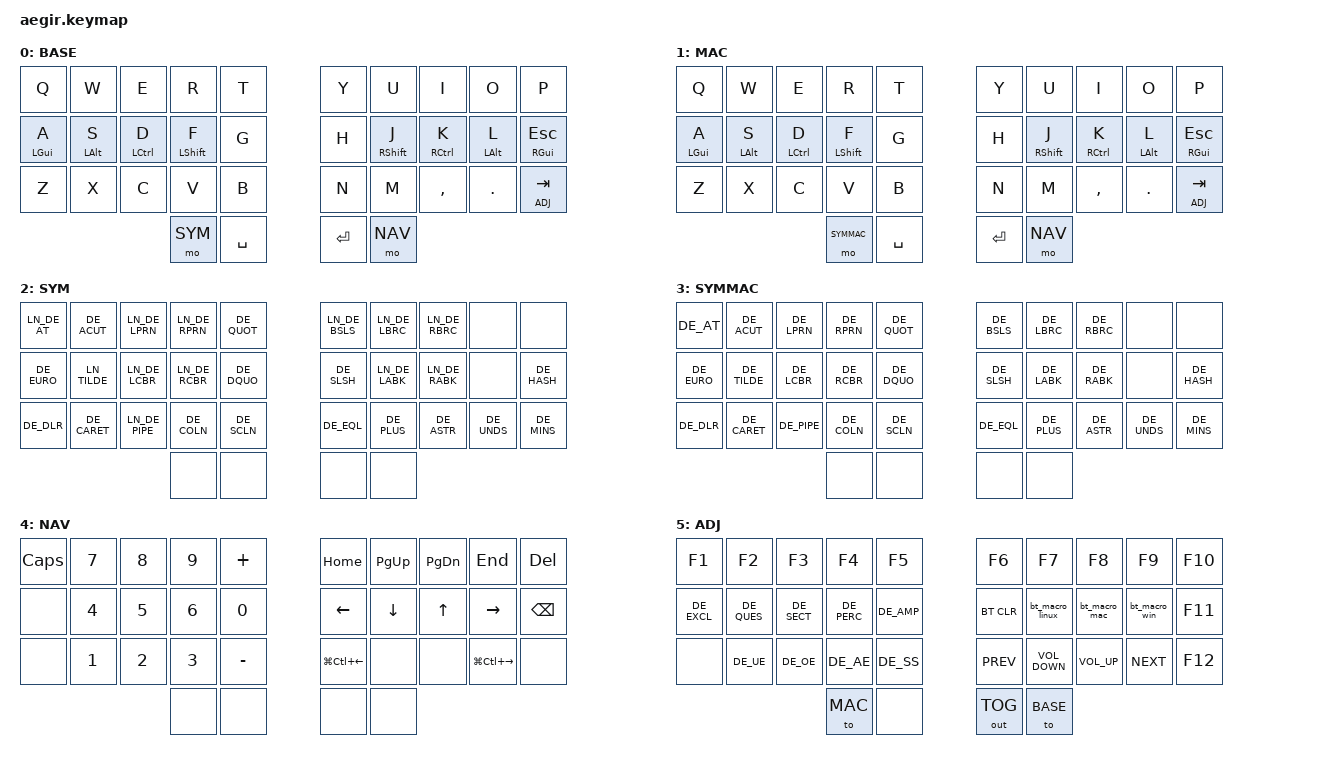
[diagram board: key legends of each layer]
#include <behaviors.dtsi>
#include <dt-bindings/zmk/keys.h>
#include <dt-bindings/zmk/bt.h>
#include <dt-bindings/zmk/outputs.h>
#include "keycodes_de.h"

#define BASE 0
#define MAC 1
#define SYM 2
#define SYMMAC 3
#define NAV 4
#define ADJ 5

&mt {
tapping-term-ms = <200>;
quick-tap-ms = <175>;
global-quick-tap;
flavor = "tap-preferred";
};

&lt {
tapping-term-ms = <200>;
quick-tap-ms = <175>;
global-quick-tap;
flavor = "hold-preferred";
};

/ {
    behaviors {
        hm: homerow_mods {
            compatible = "zmk,behavior-hold-tap";
            label = "HOMEROW_MODS";
            #binding-cells = <2>;
            flavor = "tap-preferred";
            tapping-term-ms = <200>;
            quick-tap-ms = <125>;
            global-quick-tap;
            bindings =
                <&kp>,
                <&kp>;
        };
    };

    macros {
        bt_macro_linux: bt_macro_linux {
            compatible = "zmk,behavior-macro";
            label = "bt_macro_linux";
            compatible = "zmk,behavior-macro";
            #binding-cells = <0>;
            wait-ms = <0>;
            tap-ms = <0>;
            bindings = <&bt BT_SEL 0>, <&to BASE>;
        };
        bt_macro_mac: bt_macro_mac {
            label = "bt_macro_mac";
            compatible = "zmk,behavior-macro";
            #binding-cells = <0>;
            wait-ms = <0>;
            tap-ms = <0>;
            bindings =  <&bt BT_SEL 1>, <&to MAC>;
        };
        bt_macro_win: bt_macro_win {
            label = "bt_macro_win";
            compatible = "zmk,behavior-macro";
            #binding-cells = <0>;
            wait-ms = <0>;
            tap-ms = <0>;
            bindings = <&bt BT_SEL 2>, <&to BASE>;
        };
    };

    keymap {
            compatible = "zmk,keymap";
// ▄▄▄▄▄▄▄▄▄▄▄▄▄▄▄▄▄▄▄▄▄▄▄▄▄▄▄▄▄▄▄▄▄▄▄▄▄▄▄▄▄▄▄▄▄▄▄▄▄▄▄▄▄▄▄▄▄▄▄▄▄▄▄▄▄▄▄▄▄▄▄▄▄▄▄▄▄▄▄▄▄▄▄▄▄▄▄▄▄▄▄▄▄▄▄▄▄▄▄▄▄▄▄▄▄▄▄▄▄▄▄▄▄▄▄▄▄▄▄▄▄▄▄▄▄▄▄▄▄▄▄▄▄▄▄▄▄▄▄▄▄▄▄▄▄▄▄▄▄
            base_layer {
label= "BASE";
// ┏━━━━━━━━━━━┳━━━━━━━━━━━┳━━━━━━━━━━━┳━━━━━━━━━━━┳━━━━━━━━━━━┓   ┏━━━━━━━━━━━┳━━━━━━━━━━━┳━━━━━━━━━━━┳━━━━━━━━━━━┳━━━━━━━━━━━┓
// ┃     Q     ┃     W     ┃     E     ┃     R     ┃     T     ┃   ┃     Y     ┃     U     ┃     I     ┃     O     ┃     P     ┃
// ┣━━━━━━━━━━━╋━━━━━━━━━━━╋━━━━━━━━━━━╋━━━━━━━━━━━╋━━━━━━━━━━━┫   ┣━━━━━━━━━━━╋━━━━━━━━━━━╋━━━━━━━━━━━╋━━━━━━━━━━━╋━━━━━━━━━━━┫
// ┃     A     ┃     S     ┃     D     ┃     F     ┃     G     ┃   ┃     H     ┃     J     ┃     K     ┃     L     ┃    ESC    ┃
// ┣━━━━━━━━━━━╋━━━━━━━━━━━╋━━━━━━━━━━━╋━━━━━━━━━━━╋━━━━━━━━━━━┫   ┣━━━━━━━━━━━╋━━━━━━━━━━━╋━━━━━━━━━━━╋━━━━━━━━━━━╋━━━━━━━━━━━┫
// ┃     Z     ┃     X     ┃     C     ┃     V     ┃     B     ┃   ┃     N     ┃     M     ┃     ,     ┃     .     ┃ LT 3 TAB  ┃
// ┗━━━━━━━━━━━┻━━━━━━━━━━━┻━━━━━━━━━━━╋━━━━━━━━━━━╋━━━━━━━━━━━┫   ┣━━━━━━━━━━━╋━━━━━━━━━━━╋━━━━━━━━━━━┻━━━━━━━━━━━┻━━━━━━━━━━━┛
//                                     ┃    MO(1)  ┃    SPC    ┃   ┃    ENT    ┃    MO(2)  ┃           
//                                     ┗━━━━━━━━━━━┻━━━━━━━━━━━┛   ┗━━━━━━━━━━━┻━━━━━━━━━━━┛
bindings = <
    &kp Q       &kp W       &kp E        &kp R        &kp T           &kp Y       &kp U        &kp I        &kp O       &kp P
    &mt LGUI A  &mt LALT S  &mt LCTRL D  &mt LSHFT F  &kp G           &kp H       &mt RSHFT J  &mt RCTRL K  &mt LALT L &mt RGUI ESC
    &kp Z       &kp X       &kp C        &kp V        &kp B           &kp N       &kp M        &kp COMMA    &kp DOT     &lt ADJ TAB
                                         &mo SYM      &kp SPACE       &kp RET     &mo NAV 
                    >;
            };

// ▄▄▄▄▄▄▄▄▄▄▄▄▄▄▄▄▄▄▄▄▄▄▄▄▄▄▄▄▄▄▄▄▄▄▄▄▄▄▄▄▄▄▄▄▄▄▄▄▄▄▄▄▄▄▄▄▄▄▄▄▄▄▄▄▄▄▄▄▄▄▄▄▄▄▄▄▄▄▄▄▄▄▄▄▄▄▄▄▄▄▄▄▄▄▄▄▄▄▄▄▄▄▄▄▄▄▄▄▄▄▄▄▄▄▄▄▄▄▄▄▄▄▄▄▄▄▄▄▄▄▄▄▄▄▄▄▄▄▄▄▄▄▄▄▄▄▄▄▄
                mac {
label= "MAC";
// ┏━━━━━━━━━━━┳━━━━━━━━━━━┳━━━━━━━━━━━┳━━━━━━━━━━━┳━━━━━━━━━━━┓   ┏━━━━━━━━━━━┳━━━━━━━━━━━┳━━━━━━━━━━━┳━━━━━━━━━━━┳━━━━━━━━━━━┓
// ┃     Q     ┃     W     ┃     E     ┃     R     ┃     T     ┃   ┃     Y     ┃     U     ┃     I     ┃     O     ┃     P     ┃
// ┣━━━━━━━━━━━╋━━━━━━━━━━━╋━━━━━━━━━━━╋━━━━━━━━━━━╋━━━━━━━━━━━┫   ┣━━━━━━━━━━━╋━━━━━━━━━━━╋━━━━━━━━━━━╋━━━━━━━━━━━╋━━━━━━━━━━━┫
// ┃     A     ┃     S     ┃     D     ┃     F     ┃     G     ┃   ┃     H     ┃     J     ┃     K     ┃     L     ┃    ESC    ┃
// ┣━━━━━━━━━━━╋━━━━━━━━━━━╋━━━━━━━━━━━╋━━━━━━━━━━━╋━━━━━━━━━━━┫   ┣━━━━━━━━━━━╋━━━━━━━━━━━╋━━━━━━━━━━━╋━━━━━━━━━━━╋━━━━━━━━━━━┫
// ┃     Z     ┃     X     ┃     C     ┃     V     ┃     B     ┃   ┃     N     ┃     M     ┃     ,     ┃     .     ┃ LT 3 TAB  ┃
// ┗━━━━━━━━━━━┻━━━━━━━━━━━┻━━━━━━━━━━━╋━━━━━━━━━━━╋━━━━━━━━━━━┫   ┣━━━━━━━━━━━╋━━━━━━━━━━━╋━━━━━━━━━━━┻━━━━━━━━━━━┻━━━━━━━━━━━┛
//                                     ┃    MO(5)  ┃    SPC    ┃   ┃    ENT    ┃    MO(2)  ┃           
//                                     ┗━━━━━━━━━━━┻━━━━━━━━━━━┛   ┗━━━━━━━━━━━┻━━━━━━━━━━━┛
bindings = <
    &kp Q       &kp W       &kp E        &kp R        &kp T           &kp Y       &kp U        &kp I        &kp O       &kp P
    &mt LGUI A  &mt LALT S  &mt LCTRL D  &mt LSHFT F  &kp G           &kp H       &mt RSHFT J  &mt RCTRL K  &mt LALT L &mt RGUI ESC
    &kp Z       &kp X       &kp C        &kp V        &kp B           &kp N       &kp M        &kp COMMA    &kp DOT     &lt ADJ TAB
                                         &mo SYMMAC   &kp SPACE       &kp RET     &mo NAV 
                    >;
            };

// ▄▄▄▄▄▄▄▄▄▄▄▄▄▄▄▄▄▄▄▄▄▄▄▄▄▄▄▄▄▄▄▄▄▄▄▄▄▄▄▄▄▄▄▄▄▄▄▄▄▄▄▄▄▄▄▄▄▄▄▄▄▄▄▄▄▄▄▄▄▄▄▄▄▄▄▄▄▄▄▄▄▄▄▄▄▄▄▄▄▄▄▄▄▄▄▄▄▄▄▄▄▄▄▄▄▄▄▄▄▄▄▄▄▄▄▄▄▄▄▄▄▄▄▄▄▄▄▄▄▄▄▄▄▄▄▄▄▄▄▄▄▄▄▄▄▄▄▄▄
            sim_layer {
label= "SYM";
// ┏━━━━━━━━━━━┳━━━━━━━━━━━┳━━━━━━━━━━━┳━━━━━━━━━━━┳━━━━━━━━━━━┓   ┏━━━━━━━━━━━┳━━━━━━━━━━━┳━━━━━━━━━━━┳━━━━━━━━━━━┳━━━━━━━━━━━┓
// ┃     @     ┃     ´     ┃     (     ┃     )     ┃     '     ┃   ┃     \     ┃     [     ┃     ]     ┃           ┃           ┃
// ┣━━━━━━━━━━━╋━━━━━━━━━━━╋━━━━━━━━━━━╋━━━━━━━━━━━╋━━━━━━━━━━━┫   ┣━━━━━━━━━━━╋━━━━━━━━━━━╋━━━━━━━━━━━╋━━━━━━━━━━━╋━━━━━━━━━━━┫
// ┃     €     ┃     ~     ┃     {     ┃     }     ┃     "     ┃   ┃     /     ┃     <     ┃     >     ┃           ┃     #     ┃
// ┣━━━━━━━━━━━╋━━━━━━━━━━━╋━━━━━━━━━━━╋━━━━━━━━━━━╋━━━━━━━━━━━┫   ┣━━━━━━━━━━━╋━━━━━━━━━━━╋━━━━━━━━━━━╋━━━━━━━━━━━╋━━━━━━━━━━━┫
// ┃     $     ┃     ^     ┃     |     ┃     :     ┃     ;     ┃   ┃     =     ┃     +     ┃     *     ┃     _     ┃     -     ┃
// ┗━━━━━━━━━━━┻━━━━━━━━━━━┻━━━━━━━━━━━╋━━━━━━━━━━━╋━━━━━━━━━━━┫   ┣━━━━━━━━━━━╋━━━━━━━━━━━╋━━━━━━━━━━━┻━━━━━━━━━━━┻━━━━━━━━━━━┛
//                                     ┃           ┃           ┃   ┃           ┃           ┃           
//                                     ┗━━━━━━━━━━━┻━━━━━━━━━━━┛   ┗━━━━━━━━━━━┻━━━━━━━━━━━┛
bindings = <
    &kp LN_DE_AT  &kp DE_ACUT    &kp LN_DE_LPRN   &kp LN_DE_RPRN   &kp DE_QUOT            &kp LN_DE_BSLS &kp LN_DE_LBRC &kp LN_DE_RBRC &none       &none
    &kp DE_EURO   &kp LN_TILDE   &kp LN_DE_LCBR   &kp LN_DE_RCBR   &kp DE_DQUO            &kp DE_SLSH    &kp LN_DE_LABK &kp LN_DE_RABK &none       &kp DE_HASH 
    &kp DE_DLR    &kp DE_CARET   &kp LN_DE_PIPE   &kp DE_COLN      &kp DE_SCLN            &kp DE_EQL     &kp DE_PLUS    &kp DE_ASTR    &kp DE_UNDS &kp DE_MINS
                                                  &none            &none                  &none          &none
                        >;
                };

// ▄▄▄▄▄▄▄▄▄▄▄▄▄▄▄▄▄▄▄▄▄▄▄▄▄▄▄▄▄▄▄▄▄▄▄▄▄▄▄▄▄▄▄▄▄▄▄▄▄▄▄▄▄▄▄▄▄▄▄▄▄▄▄▄▄▄▄▄▄▄▄▄▄▄▄▄▄▄▄▄▄▄▄▄▄▄▄▄▄▄▄▄▄▄▄▄▄▄▄▄▄▄▄▄▄▄▄▄▄▄▄▄▄▄▄▄▄▄▄▄▄▄▄▄▄▄▄▄▄▄▄▄▄▄▄▄▄▄▄▄▄▄▄▄▄▄▄▄▄
            simmac_layer {
label= "SYMMAC";
// ┏━━━━━━━━━━━┳━━━━━━━━━━━┳━━━━━━━━━━━┳━━━━━━━━━━━┳━━━━━━━━━━━┓   ┏━━━━━━━━━━━┳━━━━━━━━━━━┳━━━━━━━━━━━┳━━━━━━━━━━━┳━━━━━━━━━━━┓
// ┃     @     ┃     ´     ┃     (     ┃     )     ┃     '     ┃   ┃     \     ┃     [     ┃     ]     ┃           ┃           ┃
// ┣━━━━━━━━━━━╋━━━━━━━━━━━╋━━━━━━━━━━━╋━━━━━━━━━━━╋━━━━━━━━━━━┫   ┣━━━━━━━━━━━╋━━━━━━━━━━━╋━━━━━━━━━━━╋━━━━━━━━━━━╋━━━━━━━━━━━┫
// ┃     €     ┃     ~     ┃     {     ┃     }     ┃     "     ┃   ┃     /     ┃     <     ┃     >     ┃           ┃     #     ┃
// ┣━━━━━━━━━━━╋━━━━━━━━━━━╋━━━━━━━━━━━╋━━━━━━━━━━━╋━━━━━━━━━━━┫   ┣━━━━━━━━━━━╋━━━━━━━━━━━╋━━━━━━━━━━━╋━━━━━━━━━━━╋━━━━━━━━━━━┫
// ┃     $     ┃     ^     ┃     |     ┃     :     ┃     ;     ┃   ┃     =     ┃     +     ┃     *     ┃     _     ┃     -     ┃
// ┗━━━━━━━━━━━┻━━━━━━━━━━━┻━━━━━━━━━━━╋━━━━━━━━━━━╋━━━━━━━━━━━┫   ┣━━━━━━━━━━━╋━━━━━━━━━━━╋━━━━━━━━━━━┻━━━━━━━━━━━┻━━━━━━━━━━━┛
//                                     ┃           ┃           ┃   ┃           ┃           ┃           
//                                     ┗━━━━━━━━━━━┻━━━━━━━━━━━┛   ┗━━━━━━━━━━━┻━━━━━━━━━━━┛
bindings = <
    &kp DE_AT     &kp DE_ACUT    &kp DE_LPRN   &kp DE_RPRN   &kp DE_QUOT            &kp DE_BSLS   &kp DE_LBRC   &kp DE_RBRC   &none         &none
    &kp DE_EURO   &kp DE_TILDE   &kp DE_LCBR   &kp DE_RCBR   &kp DE_DQUO            &kp DE_SLSH   &kp DE_LABK   &kp DE_RABK   &none         &kp DE_HASH 
    &kp DE_DLR    &kp DE_CARET   &kp DE_PIPE   &kp DE_COLN   &kp DE_SCLN            &kp DE_EQL    &kp DE_PLUS   &kp DE_ASTR   &kp DE_UNDS   &kp DE_MINS
                                      &none      &none                              &none         &none
                        >;
                };

// ▄▄▄▄▄▄▄▄▄▄▄▄▄▄▄▄▄▄▄▄▄▄▄▄▄▄▄▄▄▄▄▄▄▄▄▄▄▄▄▄▄▄▄▄▄▄▄▄▄▄▄▄▄▄▄▄▄▄▄▄▄▄▄▄▄▄▄▄▄▄▄▄▄▄▄▄▄▄▄▄▄▄▄▄▄▄▄▄▄▄▄▄▄▄▄▄▄▄▄▄▄▄▄▄▄▄▄▄▄▄▄▄▄▄▄▄▄▄▄▄▄▄▄▄▄▄▄▄▄▄▄▄▄▄▄▄▄▄▄▄▄▄▄▄▄▄▄▄▄
                nav_layer {
label= "NAV";
// ┏━━━━━━━━━━━┳━━━━━━━━━━━┳━━━━━━━━━━━┳━━━━━━━━━━━┳━━━━━━━━━━━┓   ┏━━━━━━━━━━━┳━━━━━━━━━━━┳━━━━━━━━━━━┳━━━━━━━━━━━┳━━━━━━━━━━━┓
// ┃   CAPS    ┃     7     ┃     8     ┃     9     ┃     +     ┃   ┃    HOME   ┃    PGUP   ┃    PGDN   ┃    END    ┃    DEL    ┃
// ┣━━━━━━━━━━━╋━━━━━━━━━━━╋━━━━━━━━━━━╋━━━━━━━━━━━╋━━━━━━━━━━━┫   ┣━━━━━━━━━━━╋━━━━━━━━━━━╋━━━━━━━━━━━╋━━━━━━━━━━━╋━━━━━━━━━━━┫
// ┃           ┃     4     ┃     5     ┃     6     ┃     0     ┃   ┃    LEFT   ┃    DOWN   ┃     UP    ┃   RIGHT   ┃    BSPC   ┃
// ┣━━━━━━━━━━━╋━━━━━━━━━━━╋━━━━━━━━━━━╋━━━━━━━━━━━╋━━━━━━━━━━━┫   ┣━━━━━━━━━━━╋━━━━━━━━━━━╋━━━━━━━━━━━╋━━━━━━━━━━━╋━━━━━━━━━━━┫
// ┃           ┃     1     ┃     2     ┃     3     ┃     -     ┃   ┃ G(C(LEFT))┃           ┃           ┃G(C(RIGHT))┃           ┃
// ┗━━━━━━━━━━━┻━━━━━━━━━━━┻━━━━━━━━━━━╋━━━━━━━━━━━╋━━━━━━━━━━━┫   ┣━━━━━━━━━━━╋━━━━━━━━━━━╋━━━━━━━━━━━┻━━━━━━━━━━━┻━━━━━━━━━━━┛
//                                     ┃   TRANS   ┃   TRANS   ┃   ┃   TRANS   ┃   TRANS   ┃           
//                                     ┗━━━━━━━━━━━┻━━━━━━━━━━━┛   ┗━━━━━━━━━━━┻━━━━━━━━━━━┛
 bindings = <
    &kp CAPS   &kp N7   &kp N8   &kp N9   &kp PLUS       &kp HOME           &kp PG_UP   &kp PG_DN   &kp END             &kp DEL
    &none      &kp N4   &kp N5   &kp N6   &kp N0          &kp LEFT           &kp DOWN    &kp UP      &kp RIGHT           &kp BSPC
    &none      &kp N1   &kp N2   &kp N3   &kp MINUS      &kp LG(LC(LEFT))   &none       &none       &kp LG(LC(RIGHT))   &none
                               &none   &none          &none              &none
                        >;
                };

// ▄▄▄▄▄▄▄▄▄▄▄▄▄▄▄▄▄▄▄▄▄▄▄▄▄▄▄▄▄▄▄▄▄▄▄▄▄▄▄▄▄▄▄▄▄▄▄▄▄▄▄▄▄▄▄▄▄▄▄▄▄▄▄▄▄▄▄▄▄▄▄▄▄▄▄▄▄▄▄▄▄▄▄▄▄▄▄▄▄▄▄▄▄▄▄▄▄▄▄▄▄▄▄▄▄▄▄▄▄▄▄▄▄▄▄▄▄▄▄▄▄▄▄▄▄▄▄▄▄▄▄▄▄▄▄▄▄▄▄▄▄▄▄▄▄▄▄▄▄
                adjust_layer {
label= "ADJ";
// ┏━━━━━━━━━━━┳━━━━━━━━━━━┳━━━━━━━━━━━┳━━━━━━━━━━━┳━━━━━━━━━━━┓   ┏━━━━━━━━━━━┳━━━━━━━━━━━┳━━━━━━━━━━━┳━━━━━━━━━━━┳━━━━━━━━━━━┓
// ┃    F1     ┃    F2     ┃    F3     ┃    F4     ┃    F5     ┃   ┃    F6     ┃    F7     ┃    F8     ┃    F9     ┃    F10    ┃
// ┣━━━━━━━━━━━╋━━━━━━━━━━━╋━━━━━━━━━━━╋━━━━━━━━━━━╋━━━━━━━━━━━┫   ┣━━━━━━━━━━━╋━━━━━━━━━━━╋━━━━━━━━━━━╋━━━━━━━━━━━╋━━━━━━━━━━━┫
// ┃    !      ┃    ?      ┃    §      ┃    %      ┃    &      ┃   ┃   BT_CLR  ┃  BT_SEL 0 ┃  BT_SEL 1 ┃  BT_SEL 2 ┃    F11    ┃
// ┣━━━━━━━━━━━╋━━━━━━━━━━━╋━━━━━━━━━━━╋━━━━━━━━━━━╋━━━━━━━━━━━┫   ┣━━━━━━━━━━━╋━━━━━━━━━━━╋━━━━━━━━━━━╋━━━━━━━━━━━╋━━━━━━━━━━━┫
// ┃           ┃    ü      ┃    ö      ┃    ä      ┃    ß      ┃   ┃ SONG_PRES ┃   V_UP    ┃   V_DOWN  ┃ SONG_NEXT ┃    F12    ┃
// ┗━━━━━━━━━━━┻━━━━━━━━━━━┻━━━━━━━━━━━╋━━━━━━━━━━━╋━━━━━━━━━━━┫   ┣━━━━━━━━━━━╋━━━━━━━━━━━╋━━━━━━━━━━━┻━━━━━━━━━━━┻━━━━━━━━━━━┛
//                                     ┃  TO MAC   ┃           ┃   ┃ TOGGLE_OUT┃ TO BASE   ┃           
//                                     ┗━━━━━━━━━━━┻━━━━━━━━━━━┛   ┗━━━━━━━━━━━┻━━━━━━━━━━━┛
 bindings = <
    &kp F1        &kp F2       &kp F3       &kp F4       &kp F5          &kp F6       &kp F7              &kp F8            &kp F9          &kp F10
    &kp DE_EXCL   &kp DE_QUES  &kp DE_SECT  &kp DE_PERC  &kp DE_AMP      &bt BT_CLR   &bt_macro_linux &bt_macro_mac &bt_macro_win   &kp F11  
    &none         &kp DE_UE    &kp DE_OE    &kp DE_AE    &kp DE_SS       &kp C_PREV   &kp C_VOLUME_DOWN   &kp C_VOLUME_UP   &kp C_NEXT      &kp F12 
                                            &to MAC      &none           &out OUT_TOG &to BASE
                        >;
                };
        };
};
